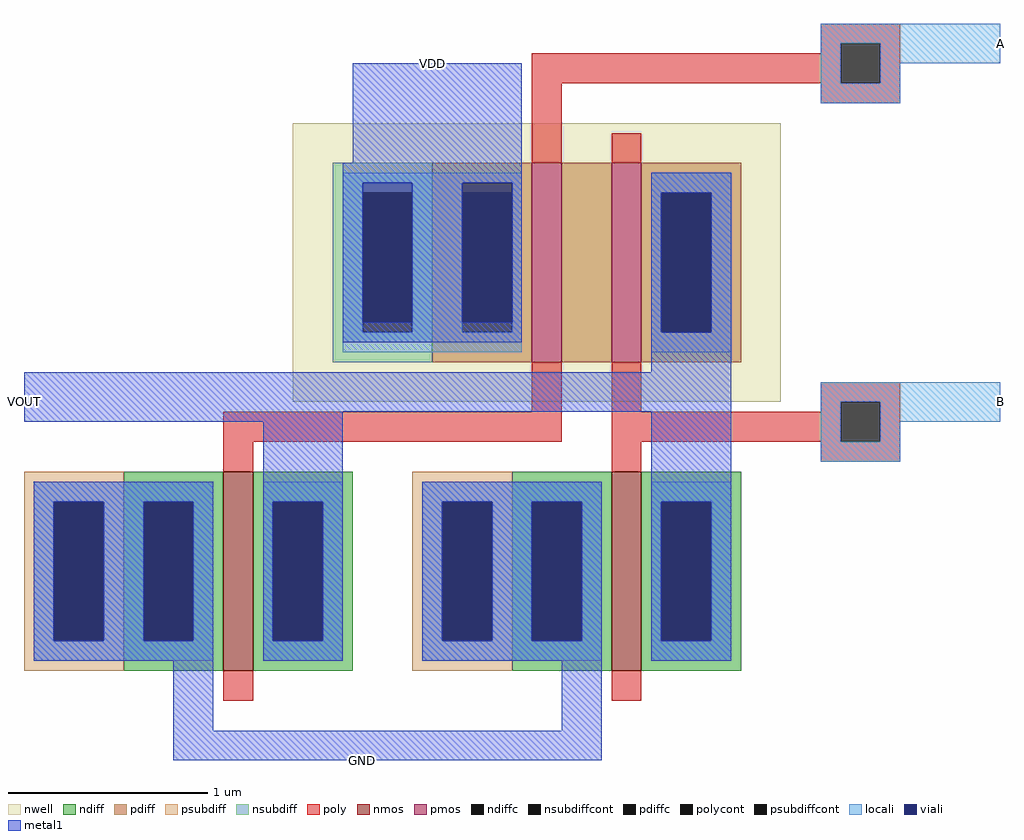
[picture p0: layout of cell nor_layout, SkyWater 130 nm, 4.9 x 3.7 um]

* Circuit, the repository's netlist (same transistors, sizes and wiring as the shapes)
* SPICE3 file created from nor_layout.ext - technology: sky130A

.subckt nor_layout VOUT A B VDD GND
X0 VOUT B a_180_310# VDD sky130_fd_pr__pfet_01v8 ad=0p pd=0u as=0p ps=0u w=1e+06u l=150000u
X1 VOUT B GND GND sky130_fd_pr__nfet_01v8 ad=0p pd=0u as=0p ps=0u w=1e+06u l=150000u
X2 VOUT A GND GND sky130_fd_pr__nfet_01v8 ad=0p pd=0u as=0p ps=0u w=1e+06u l=150000u
X3 a_180_310# A VDD VDD sky130_fd_pr__pfet_01v8 ad=0p pd=0u as=0p ps=0u w=1e+06u l=150000u
.ends

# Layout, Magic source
magic
tech sky130A
<< nwell >>
rect -45 135 200 275
<< nmos >>
rect -80 0 -65 100
rect 115 0 130 100
<< pmos >>
rect 75 155 90 255
rect 115 155 130 255
<< ndiff >>
rect -130 85 -80 100
rect -130 15 -120 85
rect -95 15 -80 85
rect -130 0 -80 15
rect -65 85 -15 100
rect -65 15 -55 85
rect -30 15 -15 85
rect -65 0 -15 15
rect 65 85 115 100
rect 65 15 75 85
rect 100 15 115 85
rect 65 0 115 15
rect 130 85 180 100
rect 130 15 140 85
rect 165 15 180 85
rect 130 0 180 15
<< pdiff >>
rect 25 240 75 255
rect 25 170 40 240
rect 65 170 75 240
rect 25 155 75 170
rect 90 155 115 255
rect 130 240 180 255
rect 130 170 140 240
rect 165 170 180 240
rect 130 155 180 170
<< ndiffc >>
rect -120 15 -95 85
rect -55 15 -30 85
rect 75 15 100 85
rect 140 15 165 85
<< pdiffc >>
rect 40 170 65 240
rect 140 170 165 240
<< psubdiff >>
rect -180 85 -130 100
rect -180 15 -165 85
rect -140 15 -130 85
rect -180 0 -130 15
rect 15 85 65 100
rect 15 15 30 85
rect 55 15 65 85
rect 15 0 65 15
<< nsubdiff >>
rect -25 240 25 255
rect -25 170 -10 240
rect 15 170 25 240
rect -25 155 25 170
<< psubdiffcont >>
rect -165 15 -140 85
rect 30 15 55 85
<< nsubdiffcont >>
rect -10 170 15 240
<< poly >>
rect 220 315 260 325
rect 220 310 230 315
rect 75 295 230 310
rect 250 295 260 315
rect 75 255 90 295
rect 220 285 260 295
rect 115 255 130 270
rect 75 130 90 155
rect -80 115 90 130
rect 115 130 130 155
rect 220 135 260 145
rect 220 130 230 135
rect 115 115 230 130
rect 250 115 260 135
rect -80 100 -65 115
rect 115 100 130 115
rect 220 105 260 115
rect -80 -15 -65 0
rect 115 -15 130 0
<< polycont >>
rect 230 295 250 315
rect 230 115 250 135
<< locali >>
rect 220 315 310 325
rect 220 295 230 315
rect 250 305 310 315
rect 250 295 260 305
rect 220 285 260 295
rect -20 245 70 250
rect -20 170 -10 245
rect 15 170 40 245
rect 65 170 70 245
rect -20 160 70 170
rect 135 240 175 250
rect 135 170 140 240
rect 165 170 175 240
rect 135 160 175 170
rect 220 135 310 145
rect 220 115 230 135
rect 250 125 310 135
rect 250 115 260 125
rect 220 105 260 115
rect -175 85 -85 95
rect -175 15 -165 85
rect -140 15 -120 85
rect -95 15 -85 85
rect -175 5 -85 15
rect -60 85 -20 95
rect -60 15 -55 85
rect -30 15 -20 85
rect -60 5 -20 15
rect 20 85 110 95
rect 20 15 30 85
rect 55 15 75 85
rect 100 15 110 85
rect 20 5 110 15
rect 135 85 175 95
rect 135 15 140 85
rect 165 15 175 85
rect 135 5 175 15
<< viali >>
rect -10 240 15 245
rect -10 175 15 240
rect 40 240 65 245
rect 40 175 65 240
rect 140 170 165 240
rect -165 15 -140 85
rect -120 15 -95 85
rect -55 15 -30 85
rect 30 15 55 85
rect 75 15 100 85
rect 140 15 165 85
<< metal1 >>
rect -15 255 70 305
rect -20 245 70 255
rect -20 175 -10 245
rect 15 175 40 245
rect 65 175 70 245
rect -20 165 70 175
rect 135 240 175 250
rect 135 170 140 240
rect 165 170 175 240
rect 135 150 175 170
rect -180 130 175 150
rect -180 125 -20 130
rect -175 85 -85 95
rect -175 15 -165 85
rect -140 15 -120 85
rect -95 15 -85 85
rect -175 5 -85 15
rect -60 85 -20 125
rect -60 15 -55 85
rect -30 15 -20 85
rect -60 5 -20 15
rect 20 85 110 95
rect 20 15 30 85
rect 55 15 75 85
rect 100 15 110 85
rect 20 5 110 15
rect 135 85 175 130
rect 135 15 140 85
rect 165 15 175 85
rect 135 5 175 15
rect -105 -30 -85 5
rect 90 -30 110 5
rect -105 -45 110 -30
<< labels >>
rlabel metal1 -180 135 -180 135 7 VOUT
port 1 e
rlabel locali 310 315 310 315 3 A
port 2 w
rlabel locali 310 135 310 135 3 B
port 3 w
rlabel metal1 25 305 25 305 1 VDD
port 4 n
rlabel metal1 -10 -45 -10 -45 5 GND
port 5 s
<< end >>
